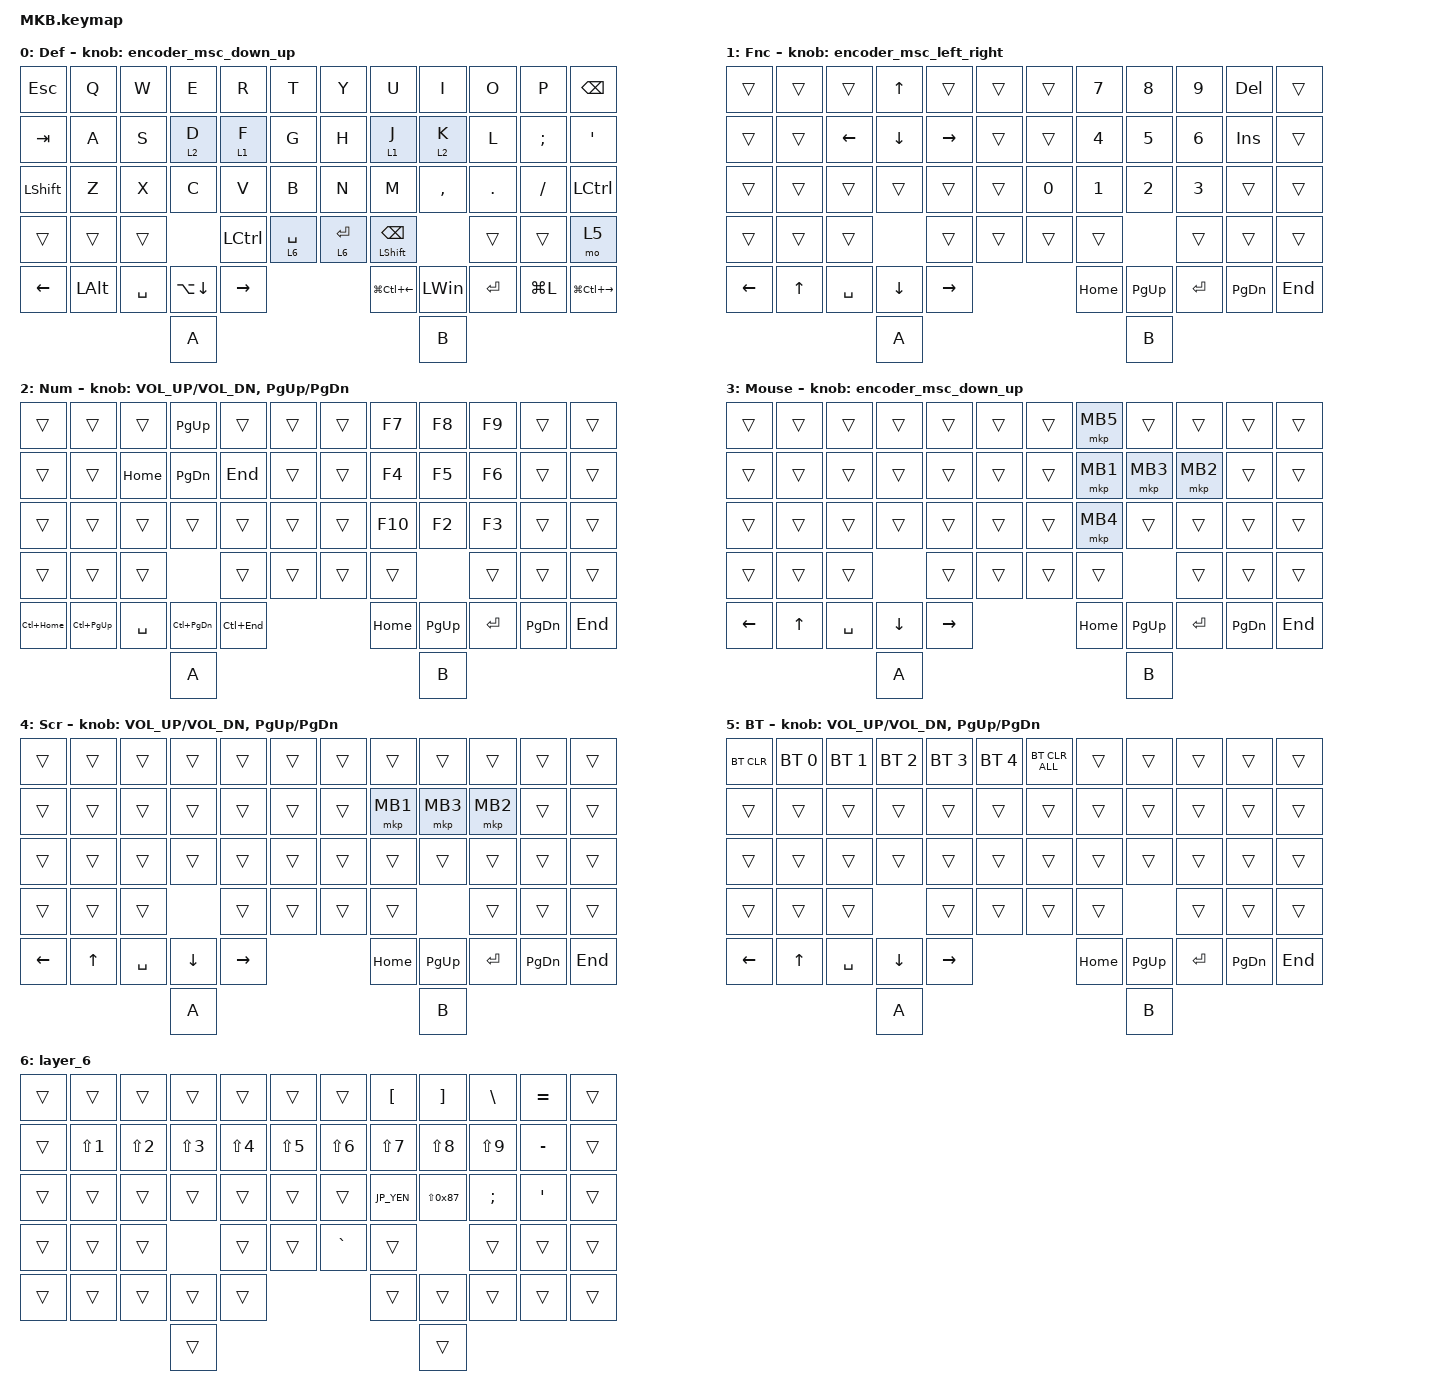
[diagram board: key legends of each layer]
// #include <layout_shift.dtsi>

#include <layout_shift_kp_override.dtsi>
#include <behaviors.dtsi>
#include <dt-bindings/zmk/bt.h>
#include <dt-bindings/zmk/keys.h>
#include <dt-bindings/zmk/pointing.h>

#define DEF 0
#define FUNC 1
#define NUM 2
#define MOUSE 3
#define SCROLL 4
#define BT 5
#define JP_YEN          0x89              // ¥
#define JP_PIPE         LS(0x89)          // |
#define JP_UNDERSCORE   LS(0x87)          // _
#define ZMK_POINTING_DEFAULT_SCRL_VAL 80

&mt {
    flavor = "balanced";
    tapping-term-ms = <280>;
    quick-tap-ms = <175>;
    require-prior-idle-ms = <150>;
};

/ {
    behaviors {
        encoder_msc_down_up: encoder_msc_down_up {
            compatible = "zmk,behavior-sensor-rotate";
            label = "ENCODER_MSC_DOWN_UP";
            #sensor-binding-cells = <0>;
            bindings = <&msc SCRL_UP>, <&msc SCRL_DOWN>;

            tap-ms = <20>;
        };

        encoder_msc_left_right: encoder_msc_left_right {
            compatible = "zmk,behavior-sensor-rotate";
            label = "ENCODER_MSC_LEFT_RIGHT";
            #sensor-binding-cells = <0>;
            bindings = <&msc SCRL_LEFT>, <&msc SCRL_RIGHT>;

            tap-ms = <20>;
        };
    };

    macros {
        alt_tab: alt_tab {
            compatible = "zmk,behavior-macro";
            #binding-cells = <0>;
            bindings = <&macro_press>, <&kp LALT>, <&macro_tap>, <&kp TAB>;
        };

        alt_tab_release: alt_tab_release {
            compatible = "zmk,behavior-macro";
            #binding-cells = <0>;
            bindings = <&macro_release>, <&kp LALT>;
        };
    };

    keymap {
        compatible = "zmk,keymap";

        default_layer {
            label = "Def";
            bindings = <
&kp ESC    &kp Q         &kp W      &kp E         &kp R             &kp T            &kp Y        &kp U                     &kp I         &kp O      &kp P      &kp BACKSPACE
&kp TAB    &kp A         &kp S      &lt 2 D       &lt 1 F           &kp G            &kp H        &lt 1 J                   &lt 2 K       &kp L      &kp SEMI   &kp APOS
&kp LSHFT  &kp Z         &kp X      &kp C         &kp V             &kp B            &kp N        &kp M                     &kp COMMA     &kp DOT    &kp SLASH  &kp LEFT_CONTROL
&trans     &trans        &trans                   &kp LEFT_CONTROL  &lt 6 SPACE      &lt 6 ENTER  &mt LEFT_SHIFT BACKSPACE                &trans     &trans     &mo 5
&kp LEFT   &kp LEFT_ALT  &kp SPACE  &kp LA(DOWN)  &kp RIGHT                                       &kp LG(LC(LEFT))          &kp LEFT_WIN  &kp ENTER  &kp LG(L)  &kp LG(LC(RIGHT_ARROW))
                                    &kp A                                                                                   &kp B
            >;

            sensor-bindings = <&encoder_msc_down_up>;
        };

        function_layer {
            label = "Fnc";
            bindings = <
&trans    &trans  &trans     &kp UP_ARROW    &trans     &trans      &trans  &kp N7    &kp N8     &kp N9     &kp DEL    &trans
&trans    &trans  &kp LEFT   &kp DOWN_ARROW  &kp RIGHT  &trans      &trans  &kp N4    &kp N5     &kp N6     &kp INS    &trans
&trans    &trans  &trans     &trans          &trans     &trans      &kp N0  &kp N1    &kp N2     &kp N3     &trans     &trans
&trans    &trans  &trans                     &trans     &trans      &trans  &trans               &trans     &trans     &trans
&kp LEFT  &kp UP  &kp SPACE  &kp DOWN        &kp RIGHT                      &kp HOME  &kp PG_UP  &kp ENTER  &kp PG_DN  &kp END
                             &kp A                                                    &kp B
            >;

            sensor-bindings = <&encoder_msc_left_right>;
        };

        num_layer {
            label = "Num";
            bindings = <
&trans        &trans         &trans     &kp PG_UP          &trans       &trans      &trans  &kp F7    &kp F8     &kp F9     &trans     &trans
&trans        &trans         &kp HOME   &kp PAGE_DOWN      &kp END      &trans      &trans  &kp F4    &kp F5     &kp F6     &trans     &trans
&trans        &trans         &trans     &trans             &trans       &trans      &trans  &kp F10   &kp F2     &kp F3     &trans     &trans
&trans        &trans         &trans                        &trans       &trans      &trans  &trans               &trans     &trans     &trans
&kp LC(HOME)  &kp LC(PG_UP)  &kp SPACE  &kp LC(PAGE_DOWN)  &kp LC(END)                      &kp HOME  &kp PG_UP  &kp ENTER  &kp PG_DN  &kp END
                                        &kp A                                                         &kp B
            >;

            sensor-bindings = <&inc_dec_kp C_VOL_UP C_VOL_DN &inc_dec_kp PG_UP PG_DN>;
        };

        mouse_layer {
            label = "Mouse";
            bindings = <
&trans    &trans  &trans     &trans    &trans     &trans      &trans  &mkp MB5  &trans     &trans     &trans     &trans
&trans    &trans  &trans     &trans    &trans     &trans      &trans  &mkp MB1  &mkp MB3   &mkp MB2   &trans     &trans
&trans    &trans  &trans     &trans    &trans     &trans      &trans  &mkp MB4  &trans     &trans     &trans     &trans
&trans    &trans  &trans               &trans     &trans      &trans  &trans               &trans     &trans     &trans
&kp LEFT  &kp UP  &kp SPACE  &kp DOWN  &kp RIGHT                      &kp HOME  &kp PG_UP  &kp ENTER  &kp PG_DN  &kp END
                             &kp A                                              &kp B
            >;

            sensor-bindings = <&encoder_msc_down_up>;
        };

        scroll_layer {
            label = "Scr";
            bindings = <
&trans    &trans  &trans     &trans    &trans     &trans      &trans  &trans    &trans     &trans     &trans     &trans
&trans    &trans  &trans     &trans    &trans     &trans      &trans  &mkp MB1  &mkp MB3   &mkp MB2   &trans     &trans
&trans    &trans  &trans     &trans    &trans     &trans      &trans  &trans    &trans     &trans     &trans     &trans
&trans    &trans  &trans               &trans     &trans      &trans  &trans               &trans     &trans     &trans
&kp LEFT  &kp UP  &kp SPACE  &kp DOWN  &kp RIGHT                      &kp HOME  &kp PG_UP  &kp ENTER  &kp PG_DN  &kp END
                             &kp A                                              &kp B
            >;

            sensor-bindings = <&inc_dec_kp C_VOL_UP C_VOL_DN &inc_dec_kp PG_UP PG_DN>;
        };

        bt_layer {
            label = "BT";
            bindings = <
&bt BT_CLR  &bt BT_SEL 0  &bt BT_SEL 1  &bt BT_SEL 2  &bt BT_SEL 3  &bt BT_SEL 4      &bt BT_CLR_ALL  &trans    &trans     &trans     &trans     &trans
&trans      &trans        &trans        &trans        &trans        &trans            &trans          &trans    &trans     &trans     &trans     &trans
&trans      &trans        &trans        &trans        &trans        &trans            &trans          &trans    &trans     &trans     &trans     &trans
&trans      &trans        &trans                      &trans        &trans            &trans          &trans               &trans     &trans     &trans
&kp LEFT    &kp UP        &kp SPACE     &kp DOWN      &kp RIGHT                                       &kp HOME  &kp PG_UP  &kp ENTER  &kp PG_DN  &kp END
                                        &kp A                                                                   &kp B
            >;

            sensor-bindings = <&inc_dec_kp C_VOL_UP C_VOL_DN &inc_dec_kp PG_UP PG_DN>;
        };

        layer_6 {
            bindings = <
&trans  &trans            &trans            &trans            &trans            &trans                &trans            &kp LEFT_BRACKET  &kp RIGHT_BRACKET  &kp BACKSLASH     &kp EQUAL  &trans
&trans  &kp LS(NUMBER_1)  &kp LS(NUMBER_2)  &kp LS(NUMBER_3)  &kp LS(NUMBER_4)  &kp LS(NUMBER_5)      &kp LS(NUMBER_6)  &kp LS(NUMBER_7)  &kp LS(NUMBER_8)   &kp LS(NUMBER_9)  &kp MINUS  &trans
&trans  &trans            &trans            &trans            &trans            &trans                &trans            &kp JP_YEN        &kp JP_UNDERSCORE  &kp SEMICOLON     &kp APOS   &trans
&trans  &trans            &trans                              &trans            &trans                &kp GRAVE         &trans                               &trans            &trans     &trans
&trans  &trans            &trans            &trans            &trans                                                    &trans            &trans             &trans            &trans     &trans
                                            &trans                                                                                        &trans
            >;
        };
    };
};
